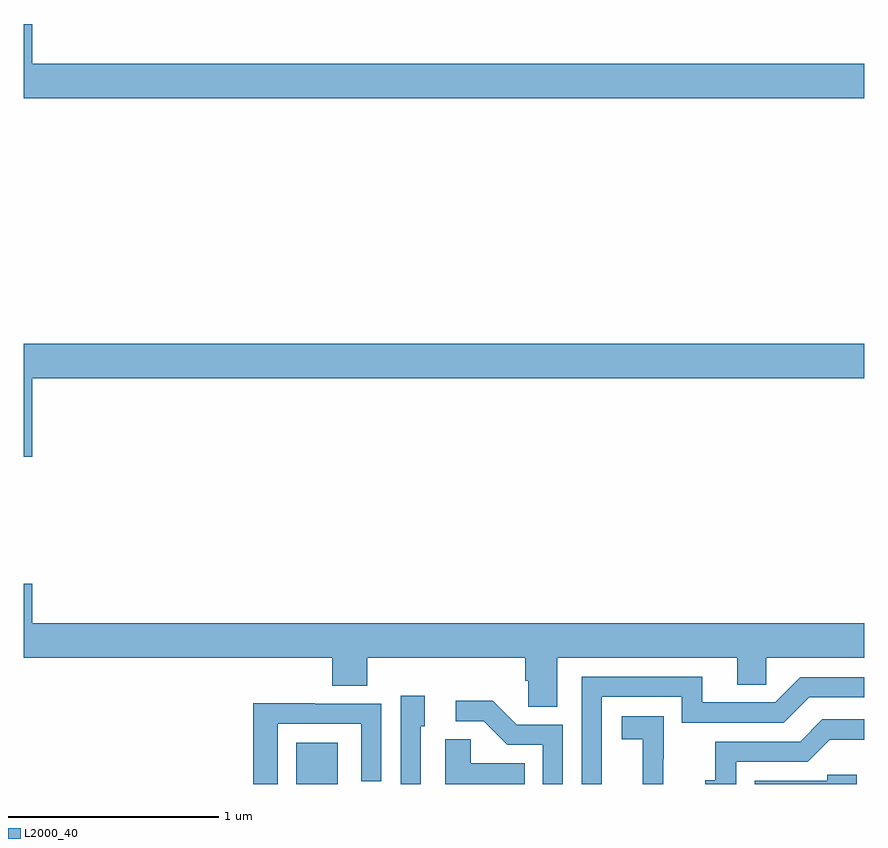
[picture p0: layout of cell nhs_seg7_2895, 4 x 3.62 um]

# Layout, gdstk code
import gdstk
lib = gdstk.Library(unit=1e-6, precision=1e-09)
def R(c, l, rs):  # rectangles x0, y0, x1, y1
    for r in rs: c.add(gdstk.rectangle(r[:2], r[2:], *l))
def P(c, l, *ps):  # polygons
    for p in ps: c.add(gdstk.Polygon(p, *l))
L2000_40 = (2000, 40)

nhs_seg7_2895 = lib.new_cell('nhs_seg7_2895')
R(nhs_seg7_2895, L2000_40, [(298.298,1016,298.495,1016.197)])
P(nhs_seg7_2895, L2000_40, [(301,1019.428),(297.04,1019.428),(297.04,1019.617),(297,1019.617),(297,1019.264),(301,1019.264)],
  [(297.04,1017.932),(301,1017.932),(301,1018.096),(297,1018.096),(297,1017.558),(297.04,1017.558)],
  [(299.539,1016.6),(300.395,1016.6),(300.395,1016.473),(300.534,1016.473),(300.534,1016.6),(301,1016.6),(301,1016.764),(297.04,1016.764),(297.04,1016.953),(297,1016.953),(297,1016.6),(298.469,1016.6),(298.469,1016.467),(298.634,1016.467),(298.634,1016.6),(299.387,1016.6),(299.387,1016.491),(299.4,1016.491),(299.4,1016.368),(299.539,1016.368)],
  [(299.751,1016.415),(300.132,1016.415),(300.132,1016.292),(300.618,1016.292),(300.738,1016.412),(301,1016.412),(301,1016.508),(300.696,1016.508),(300.576,1016.388),(300.229,1016.388),(300.229,1016.511),(299.655,1016.511),(299.655,1016),(299.751,1016)],
  [(298.89,1016.274),(298.909,1016.274),(298.909,1016.419),(298.794,1016.419),(298.794,1016),(298.89,1016)],
  [(299.565,1016.283),(299.346,1016.283),(299.233,1016.396),(299.055,1016.396),(299.055,1016.298),(299.189,1016.298),(299.3,1016.187),(299.469,1016.187),(299.469,1016),(299.565,1016)],
  [(298.209,1016.286),(298.605,1016.286),(298.605,1016.013),(298.701,1016.013),(298.701,1016.382),(298.385,1016.382),(298.385,1016.384),(298.093,1016.384),(298.093,1016),(298.209,1016)],
  [(300.044,1016.117),(300.045,1016.117),(300.045,1016.323),(299.847,1016.323),(299.847,1016.213),(299.945,1016.213),(299.945,1016),(300.044,1016)],
  [(300.39,1016.106),(300.732,1016.106),(300.836,1016.21),(301,1016.21),(301,1016.307),(300.8,1016.307),(300.695,1016.202),(300.292,1016.202),(300.292,1016.017),(300.243,1016.017),(300.243,1016),(300.39,1016)],
  [(299.384,1016.098),(299.127,1016.098),(299.127,1016.213),(299.006,1016.213),(299.006,1016),(299.384,1016)],
  [(300.965,1016.043),(300.825,1016.043),(300.825,1016.016),(300.48,1016.016),(300.48,1016),(300.965,1016)])

lib.write_gds('nhs_seg7_2895.gds')
